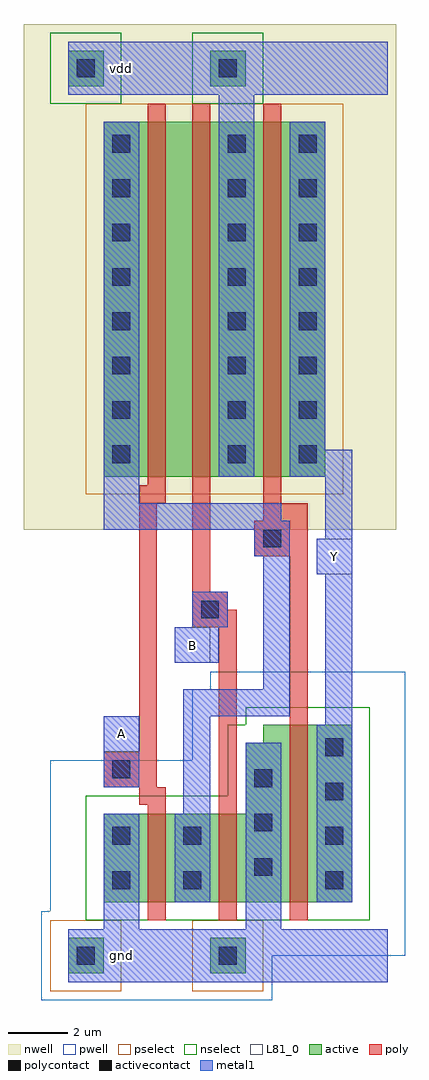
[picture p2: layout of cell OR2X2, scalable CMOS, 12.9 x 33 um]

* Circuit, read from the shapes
.subckt OR2X2 A B Y gnd vdd
M1 n1 A gnd gnd nfet w=3u l=0.6u
M2 gnd B n1 gnd nfet w=3u l=0.6u
M3 Y n1 gnd gnd nfet w=6u l=0.6u
M4 n2 A n1 vdd pfet w=12u l=0.6u
M5 vdd B n2 vdd pfet w=12u l=0.6u
M6 Y n1 vdd vdd pfet w=12u l=0.6u
.ends

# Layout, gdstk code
import gdstk
lib = gdstk.Library(unit=1e-6, precision=1e-09)
def R(c, l, rs):  # rectangles x0, y0, x1, y1
    for r in rs: c.add(gdstk.rectangle(r[:2], r[2:], *l))
def A(c, l, x, y, w, h, nx, ny, dx, dy):  # array of equal rectangles
    R(c, l, [(x+i*dx, y+j*dy, x+i*dx+w, y+j*dy+h) for i in range(nx) for j in range(ny)])
pwell = (41, 0)
nwell = (42, 0)
active = (43, 0)
pselect = (44, 0)
nselect = (45, 0)
poly = (46, 0)
polycontact = (47, 0)
activecontact = (48, 0)
metal1 = (49, 0)
L81_0 = (81, 0)

or2x2 = lib.new_cell('OR2X2')
R(or2x2, pwell, [(-1.5,-1.5,6.3,0), (-1.5,0,10.8,1.5), (-1.2,1.5,10.8,6.6), (3.6,6.6,10.8,9), (4.2,9,10.8,9.6)])
R(or2x2, nwell, [(-2.1,14.4,10.5,31.5)])
R(or2x2, active, [(-0.6,-0.6,0.6,0.6), (4.2,-0.6,5.4,0.6), (0.6,1.8,9,4.8), (5.4,4.8,9,7.2), (6,7.2,9,7.8), (0.6,16.2,8.1,28.2), (-0.6,29.4,0.6,30.6), (4.2,29.4,5.4,30.6)])
R(or2x2, pselect, [(-1.2,-1.2,1.2,1.2), (3.6,-1.2,6,1.2), (0,15.6,8.7,28.8)])
R(or2x2, nselect, [(0,1.2,9.6,5.4), (4.8,5.4,9.6,7.8), (5.4,7.8,9.6,8.4), (-1.2,28.8,1.2,31.2), (3.6,28.8,6,31.2)])
R(or2x2, poly, [(2.1,1.2,2.7,5.1), (4.5,1.2,5.1,11.1), (6.9,1.2,7.5,13.5), (1.8,5.1,2.7,5.7), (0.6,5.7,2.4,6.9), (1.8,6.9,2.4,15.3), (3.6,11.1,5.1,11.7), (3.6,11.7,4.8,12.3), (3.6,12.3,4.2,28.8), (5.7,13.5,7.5,14.7), (6,14.7,7.5,15.3), (1.8,15.3,2.7,15.9), (6,15.3,6.6,28.8), (2.1,15.9,2.7,28.8)])
R(or2x2, polycontact, [(0.9,6,1.5,6.6), (3.9,11.4,4.5,12), (6,13.8,6.6,14.4)])
A(or2x2, activecontact, 8.1, 2.25, 0.6, 0.6, 1, 4, 0, 1.5)
A(or2x2, activecontact, 5.7, 2.7, 0.6, 0.6, 1, 3, 0, 1.5)
A(or2x2, activecontact, 0.9, 16.65, 0.6, 0.6, 1, 8, 0, 1.5)
A(or2x2, activecontact, 4.8, 16.65, 0.6, 0.6, 1, 8, 0, 1.5)
A(or2x2, activecontact, 7.2, 16.65, 0.6, 0.6, 1, 8, 0, 1.5)
R(or2x2, activecontact, [(-0.3,-0.3,0.3,0.3), (4.5,-0.3,5.1,0.3), (0.9,2.25,1.5,2.85), (3.3,2.25,3.9,2.85), (0.9,3.75,1.5,4.35), (3.3,3.75,3.9,4.35), (-0.3,29.7,0.3,30.3), (4.5,29.7,5.1,30.3)])
R(or2x2, metal1, [(-0.6,-0.9,10.2,0.9), (0.6,0.9,1.8,4.8), (5.4,0.9,6.6,7.2), (3,1.8,4.2,4.8), (7.8,1.8,9,7.8), (3.3,4.8,4.2,8.1), (0.6,5.7,1.8,8.1), (8.1,7.8,9,12.9), (3.3,8.1,6.9,9), (6,9,6.9,13.5), (3,9.9,4.5,11.1), (3.6,11.1,4.8,12.3), (7.8,12.9,9,14.1), (5.7,13.5,6.9,14.4), (8.1,14.1,9,16.2), (0.6,14.4,6.9,14.7), (0.6,14.7,6.6,15.3), (0.6,15.3,1.8,28.2), (4.5,16.2,5.7,29.1), (6.9,16.2,9,17.1), (6.9,17.1,8.1,28.2), (-0.6,29.1,10.2,30.9)])
R(or2x2, L81_0, [(0.6,6.9,1.8,8.1), (3,9.9,4.2,11.1), (7.8,12.9,9,14.1)])
or2x2.add(gdstk.Label('Y', (8.4,13.5), layer=49, texttype=0))
or2x2.add(gdstk.Label('B', (3.6,10.5), layer=49, texttype=0))
or2x2.add(gdstk.Label('vdd', (1.2,30), layer=49, texttype=0))
or2x2.add(gdstk.Label('gnd', (1.2,0), layer=49, texttype=0))
or2x2.add(gdstk.Label('A', (1.2,7.5), layer=49, texttype=0))

lib.write_gds('OR2X2.gds')
